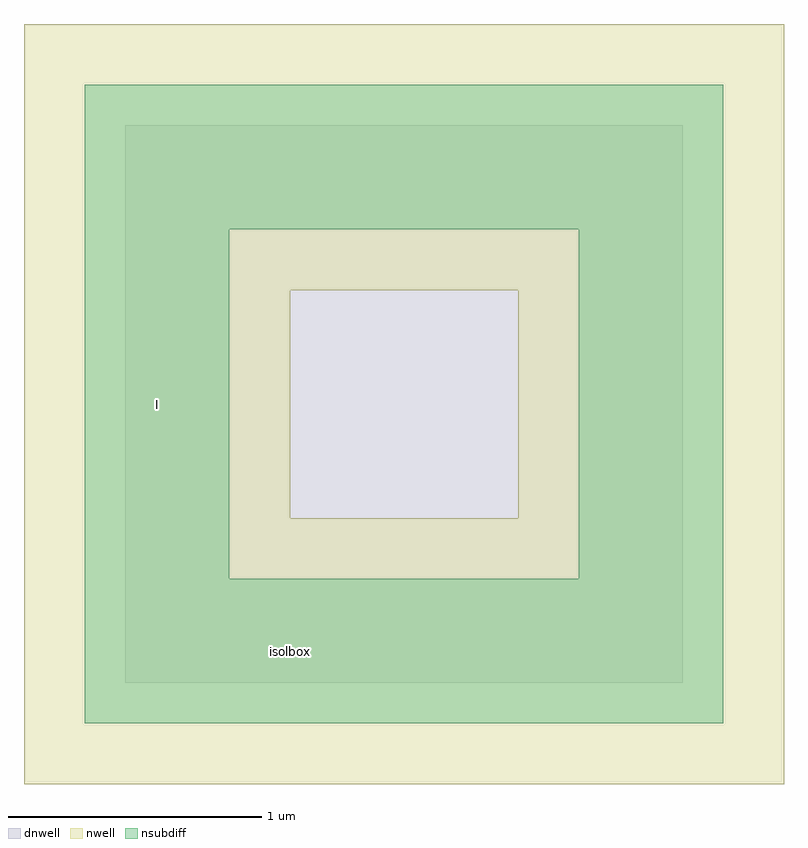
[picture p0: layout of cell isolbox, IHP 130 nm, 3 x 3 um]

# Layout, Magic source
magic
tech ihp-sg13g2
magscale 1 2
<< dnwell >>
rect -130 -130 310 310
<< nwell >>
rect -210 180 390 390
rect -210 0 0 180
rect 180 0 390 180
rect -210 -210 390 0
<< nsubdiff >>
rect -162 228 342 342
rect -162 -48 -48 228
rect 228 -48 342 228
rect -162 -162 342 -48
<< labels >>
flabel comment s 0 -105 0 -105 0 FreeSans 524 0 0 0 isolbox
flabel comment s -105 90 -105 90 0 FreeSans 570 0 0 0 I
<< end >>
